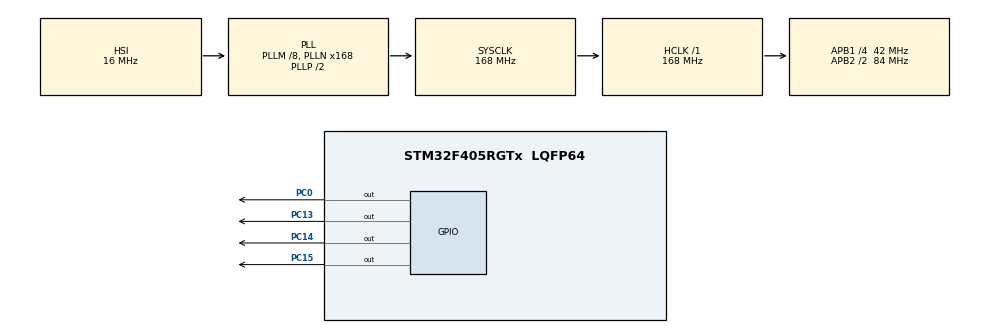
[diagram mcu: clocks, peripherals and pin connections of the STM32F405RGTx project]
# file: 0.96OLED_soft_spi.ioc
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Mcu.Family=STM32F4
Mcu.Name=STM32F405RGTx
Mcu.Package=LQFP64
NVIC.PriorityGroup=NVIC_PRIORITYGROUP_4
PA13.Mode=Serial_Wire
PA13.Signal=SYS_JTMS-SWDIO
PA14.Mode=Serial_Wire
PA14.Signal=SYS_JTCK-SWCLK
PC0.Signal=GPIO_Output
PC13-ANTI_TAMP.Signal=GPIO_Output
PC14-OSC32_IN.Signal=GPIO_Output
PC15-OSC32_OUT.Signal=GPIO_Output
PH0-OSC_IN.Mode=HSE-External-Oscillator
PH0-OSC_IN.Signal=RCC_OSC_IN
PH1-OSC_OUT.Mode=HSE-External-Oscillator
PH1-OSC_OUT.Signal=RCC_OSC_OUT
ProjectManager.HeapSize=0x200
ProjectManager.StackSize=0x400
ProjectManager.TargetToolchain=MDK-ARM V5.32
RCC.48MHZClocksFreq_Value=84000000
RCC.AHBFreq_Value=168000000
RCC.APB1CLKDivider=RCC_HCLK_DIV4
RCC.APB1Freq_Value=42000000
RCC.APB1TimFreq_Value=84000000
RCC.APB2CLKDivider=RCC_HCLK_DIV2
RCC.APB2Freq_Value=84000000
RCC.APB2TimFreq_Value=168000000
RCC.CortexFreq_Value=168000000
RCC.HCLKFreq_Value=168000000
RCC.HSE_VALUE=25000000
RCC.HSI_VALUE=16000000
RCC.LSE_VALUE=32768
RCC.PLLM=8
RCC.PLLN=168
RCC.SYSCLKFreq_VALUE=168000000
RCC.SYSCLKSource=RCC_SYSCLKSOURCE_PLLCLK
RCC.VCOOutputFreq_Value=336000000
board=custom

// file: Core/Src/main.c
/* USER CODE BEGIN Header */
/**
  ******************************************************************************
  * @file           : main.c
  * @brief          : Main program body
  ******************************************************************************
  * @attention
  *
  * Copyright (c) 2022 STMicroelectronics.
  * All rights reserved.
  *
  * This software is licensed under terms that can be found in the LICENSE file
  * in the root directory of this software component.
  * If no LICENSE file comes with this software, it is provided AS-IS.
  *
  ******************************************************************************
  */
/* USER CODE END Header */
#include "main.h"
#include "gpio.h"

/* USER CODE BEGIN Includes */
#include "oled.h"//OLED头文件
#include "bmp.h"//图片头文件
/* USER CODE END Includes */

void SystemClock_Config(void);

int main(void)
{

  /* MCU Configuration--------------------------------------------------------*/

  /* Reset of all peripherals, Initializes the Flash interface and the Systick. */
  HAL_Init();

  /* Configure the system clock */
  SystemClock_Config();

  /* Initialize all configured peripherals */
  MX_GPIO_Init();
  /* USER CODE BEGIN 2 */
	OLED_Init();//OLED初始化
	OLED_Clear();//清屏
  /* USER CODE END 2 */

  /* Infinite loop */
  while (1)
  {

    /* USER CODE BEGIN 3 */
		OLED_ShowString(0,0,(unsigned char *)"Hello World !",16,0);//显示字符串，x位置，y位置，字符串，字体大小，颜色翻转
		OLED_ShowString(0,2,(unsigned char *)"Hello World !",16,1);//显示字符串，x位置，y位置，字符串，字体大小，颜色翻转
		OLED_ShowNum(0,4,666,3,12,0);//显示数字666，x位置,y位置，数字，长度，字体大小，颜色翻转
		OLED_ShowNum(30,5,666,3,12,0);//显示数字666，x位置,y位置，数字，长度，字体大小，颜色翻转
		OLED_ShowNum(60,4,666,3,16,0);//显示数字666，x位置,y位置，数字，长度，字体大小，颜色翻转
		OLED_ShowCHinese(0,6,0);OLED_ShowCHinese(16,6,1);OLED_ShowCHinese(32,6,2);OLED_ShowCHinese(48,6,3);OLED_ShowCHinese(64,6,4);OLED_ShowCHinese(80,6,5);
		HAL_Delay(1000);
		OLED_Clear();//清屏
		OLED_DrawBMP(0,0,128,8,(unsigned char *)BMP1);//显示图片，起始x，起始y，终止x，终止y，图片
		HAL_Delay(1000);
		OLED_Clear();//清屏
  }
  /* USER CODE END 3 */
}

void SystemClock_Config(void)
{
  RCC_OscInitTypeDef RCC_OscInitStruct = {0};
  RCC_ClkInitTypeDef RCC_ClkInitStruct = {0};

  /** Configure the main internal regulator output voltage
  */
  __HAL_RCC_PWR_CLK_ENABLE();
  __HAL_PWR_VOLTAGESCALING_CONFIG(PWR_REGULATOR_VOLTAGE_SCALE1);

  /** Initializes the RCC Oscillators according to the specified parameters
  * in the RCC_OscInitTypeDef structure.
  */
  RCC_OscInitStruct.OscillatorType = RCC_OSCILLATORTYPE_HSI;
  RCC_OscInitStruct.HSIState = RCC_HSI_ON;
  RCC_OscInitStruct.HSICalibrationValue = RCC_HSICALIBRATION_DEFAULT;
  RCC_OscInitStruct.PLL.PLLState = RCC_PLL_ON;
  RCC_OscInitStruct.PLL.PLLSource = RCC_PLLSOURCE_HSI;
  RCC_OscInitStruct.PLL.PLLM = 8;
  RCC_OscInitStruct.PLL.PLLN = 168;
  RCC_OscInitStruct.PLL.PLLP = RCC_PLLP_DIV2;
  RCC_OscInitStruct.PLL.PLLQ = 4;
  if (HAL_RCC_OscConfig(&RCC_OscInitStruct) != HAL_OK)
  {
    Error_Handler();
  }

  /** Initializes the CPU, AHB and APB buses clocks
  */
  RCC_ClkInitStruct.ClockType = RCC_CLOCKTYPE_HCLK|RCC_CLOCKTYPE_SYSCLK
                              |RCC_CLOCKTYPE_PCLK1|RCC_CLOCKTYPE_PCLK2;
  RCC_ClkInitStruct.SYSCLKSource = RCC_SYSCLKSOURCE_PLLCLK;
  RCC_ClkInitStruct.AHBCLKDivider = RCC_SYSCLK_DIV1;
  RCC_ClkInitStruct.APB1CLKDivider = RCC_HCLK_DIV4;
  RCC_ClkInitStruct.APB2CLKDivider = RCC_HCLK_DIV2;

  if (HAL_RCC_ClockConfig(&RCC_ClkInitStruct, FLASH_LATENCY_5) != HAL_OK)
  {
    Error_Handler();
  }
}

void Error_Handler(void)
{
  __disable_irq();
  while (1)
  {
  }
}
